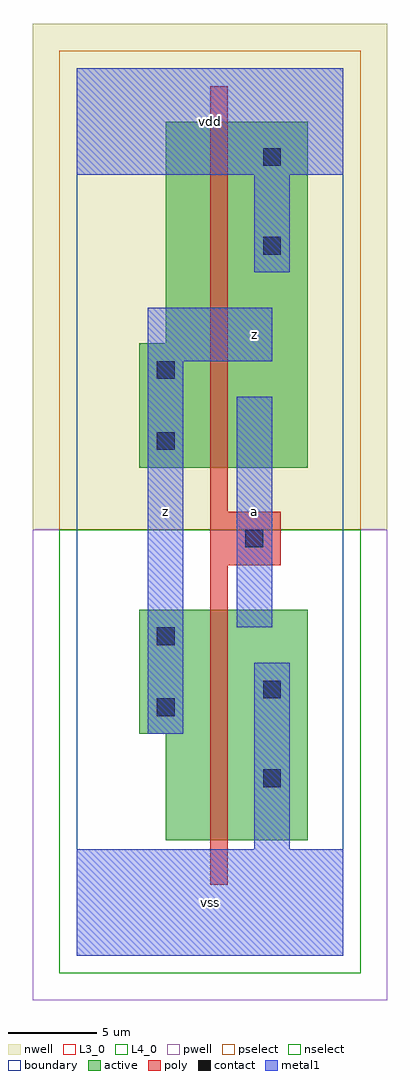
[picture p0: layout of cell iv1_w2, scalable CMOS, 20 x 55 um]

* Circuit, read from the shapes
.subckt iv1_w2 a vdd vss z
M1 vss a z VSUBS nfet w=13u l=1u
M2 vdd a z n1 pfet w=19.5u l=1u
.ends

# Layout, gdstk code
import gdstk
lib = gdstk.Library(unit=1e-6, precision=1e-09)
def R(c, l, rs):  # rectangles x0, y0, x1, y1
    for r in rs: c.add(gdstk.rectangle(r[:2], r[2:], *l))
L3_0 = (3, 0)
L4_0 = (4, 0)
contact = (25, 0)
pwell = (41, 0)
nwell = (42, 0)
active = (43, 0)
pselect = (44, 0)
nselect = (45, 0)
poly = (46, 0)
metal1 = (49, 0)
boundary = (63, 0)

iv1_w2 = lib.new_cell('iv1_w2')
R(iv1_w2, L3_0, [(5,6.5,13,12.5), (3.5,12.5,13,19.5)])
R(iv1_w2, L4_0, [(3.5,27.5,13,34.5), (5,34.5,13,47)])
R(iv1_w2, contact, [(10.5,9.5,11.5,10.5), (4.5,13.5,5.5,14.5), (10.5,14.5,11.5,15.5), (4.5,17.5,5.5,18.5), (9.5,23,10.5,24), (4.5,28.5,5.5,29.5), (4.5,32.5,5.5,33.5), (10.5,39.5,11.5,40.5), (10.5,44.5,11.5,45.5)])
R(iv1_w2, pwell, [(-2.5,-2.5,17.5,24)])
R(iv1_w2, nwell, [(-2.5,24,17.5,52.5)])
R(iv1_w2, active, [(5,6.5,13,12.5), (3.5,12.5,13,19.5), (3.5,27.5,13,34.5), (5,34.5,13,47)])
R(iv1_w2, pselect, [(-1,24,16,51)])
R(iv1_w2, nselect, [(-1,-1,16,24)])
R(iv1_w2, poly, [(7.5,4,8.5,22), (7.5,22,11.5,25), (7.5,25,8.5,49)])
R(iv1_w2, metal1, [(0,0,15,6), (0,0,15,6), (10,6,12,16.5), (10,6,12,16.5), (4,12.5,6,33.5), (4,12.5,6,33.5), (9,18.5,11,31.5), (9,18.5,11,31.5), (4,33.5,11,36.5), (4,33.5,11,36.5), (10,38.5,12,44), (10,38.5,12,44), (0,44,15,50), (0,44,15,50)])
R(iv1_w2, boundary, [(0,0,15,50)])
iv1_w2.add(gdstk.Label('vss', (7.5,3), layer=49, texttype=0))
iv1_w2.add(gdstk.Label('z', (5,25), layer=49, texttype=0))
iv1_w2.add(gdstk.Label('vdd', (7.5,47), layer=49, texttype=0))
iv1_w2.add(gdstk.Label('a', (10,25), layer=49, texttype=0))
iv1_w2.add(gdstk.Label('z', (10,35), layer=49, texttype=0))

lib.write_gds('iv1_w2.gds')
